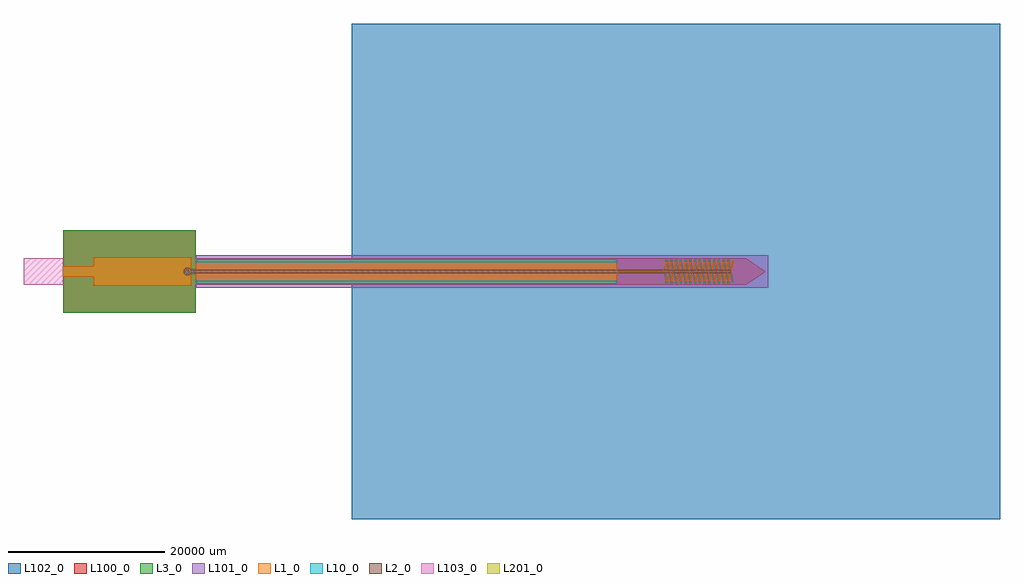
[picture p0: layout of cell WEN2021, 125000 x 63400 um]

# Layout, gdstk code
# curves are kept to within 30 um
import gdstk
lib = gdstk.Library(unit=1e-6, precision=1e-09)
def R(c, l, rs):  # rectangles x0, y0, x1, y1
    for r in rs: c.add(gdstk.rectangle(r[:2], r[2:], *l))
def P(c, l, *ps):  # polygons
    for p in ps: c.add(gdstk.Polygon(p, *l))
L1_0 = (1, 0)
L2_0 = (2, 0)
L3_0 = (3, 0)
L10_0 = (10, 0)
L100_0 = (100, 0)
L101_0 = (101, 0)
L102_0 = (102, 0)
L103_0 = (103, 0)
L201_0 = (201, 0)

wen2021 = lib.new_cell('WEN2021')
P(wen2021, L1_0, [(85216.505,-1572.5),(85075.083,-1513.921),(85031.729,-1449.037),(85020.348,-1333.482),(85075.083,-1231.079),(85156.091,-1182.833),(85726.871,1394.125),(85922.138,1350.875),(85351.432,-1225.749),(85401.28,-1295.963),(85412.662,-1411.518),(85327.619,-1538.794)],
  [(77312.505,-1572.5),(77171.083,-1513.921),(77127.729,-1449.037),(77116.348,-1333.482),(77171.083,-1231.079),(77252.091,-1182.833),(77785.577,1225.75),(77735.729,1295.963),(77724.348,1411.518),(77809.391,1538.794),(77959.523,1568.657),(78086.799,1483.614),(78116.662,1333.482),(78061.926,1231.079),(77980.918,1182.833),(77447.432,-1225.749),(77497.28,-1295.963),(77508.662,-1411.518),(77423.619,-1538.794)],
  [(77920.505,-1572.5),(77779.083,-1513.921),(77735.729,-1449.037),(77724.348,-1333.482),(77779.083,-1231.079),(77860.091,-1182.833),(78393.577,1225.75),(78343.729,1295.963),(78332.348,1411.518),(78417.391,1538.794),(78567.523,1568.657),(78694.799,1483.614),(78724.662,1333.482),(78669.926,1231.079),(78588.918,1182.833),(78055.432,-1225.749),(78105.28,-1295.963),(78116.662,-1411.518),(78031.619,-1538.794)],
  [(78528.505,-1572.5),(78387.083,-1513.921),(78343.729,-1449.037),(78332.348,-1333.482),(78387.083,-1231.079),(78468.091,-1182.833),(79001.577,1225.75),(78951.729,1295.963),(78940.348,1411.518),(79025.391,1538.794),(79175.523,1568.657),(79302.799,1483.614),(79332.662,1333.482),(79277.926,1231.079),(79196.918,1182.833),(78663.432,-1225.749),(78713.28,-1295.963),(78724.662,-1411.518),(78639.619,-1538.794)],
  [(79136.505,-1572.5),(78995.083,-1513.921),(78951.729,-1449.037),(78940.348,-1333.482),(78995.083,-1231.079),(79076.091,-1182.833),(79609.577,1225.75),(79559.729,1295.963),(79548.348,1411.518),(79633.391,1538.794),(79783.523,1568.657),(79910.799,1483.614),(79940.662,1333.482),(79885.926,1231.079),(79804.918,1182.833),(79271.432,-1225.749),(79321.28,-1295.963),(79332.662,-1411.518),(79247.619,-1538.794)],
  [(79744.505,-1572.5),(79603.083,-1513.921),(79559.729,-1449.037),(79548.348,-1333.482),(79603.083,-1231.079),(79684.091,-1182.833),(80217.577,1225.75),(80167.729,1295.963),(80156.348,1411.518),(80241.391,1538.794),(80391.523,1568.657),(80518.799,1483.614),(80548.662,1333.482),(80493.926,1231.079),(80412.918,1182.833),(79879.432,-1225.749),(79929.28,-1295.963),(79940.662,-1411.518),(79855.619,-1538.794)],
  [(80352.505,-1572.5),(80211.083,-1513.921),(80167.729,-1449.037),(80156.348,-1333.482),(80211.083,-1231.079),(80292.091,-1182.833),(80825.577,1225.75),(80775.729,1295.963),(80764.348,1411.518),(80849.391,1538.794),(80999.523,1568.657),(81126.799,1483.614),(81156.662,1333.482),(81101.926,1231.079),(81020.918,1182.833),(80487.432,-1225.749),(80537.28,-1295.963),(80548.662,-1411.518),(80463.619,-1538.794)],
  [(80960.505,-1572.5),(80819.083,-1513.921),(80775.729,-1449.037),(80764.348,-1333.482),(80819.083,-1231.079),(80900.091,-1182.833),(81433.577,1225.75),(81383.729,1295.963),(81372.348,1411.518),(81457.391,1538.794),(81607.523,1568.657),(81734.799,1483.614),(81764.662,1333.482),(81709.926,1231.079),(81628.918,1182.833),(81095.432,-1225.749),(81145.28,-1295.963),(81156.662,-1411.518),(81071.619,-1538.794)],
  [(81568.505,-1572.5),(81427.083,-1513.921),(81383.729,-1449.037),(81372.348,-1333.482),(81427.083,-1231.079),(81508.091,-1182.833),(82041.577,1225.75),(81991.729,1295.963),(81980.348,1411.518),(82065.391,1538.794),(82215.523,1568.657),(82342.799,1483.614),(82372.662,1333.482),(82317.926,1231.079),(82236.918,1182.833),(81703.432,-1225.749),(81753.28,-1295.963),(81764.662,-1411.518),(81679.619,-1538.794)],
  [(82176.505,-1572.5),(82035.083,-1513.921),(81991.729,-1449.037),(81980.348,-1333.482),(82035.083,-1231.079),(82116.091,-1182.833),(82649.577,1225.75),(82599.729,1295.963),(82588.348,1411.518),(82673.391,1538.794),(82823.523,1568.657),(82950.799,1483.614),(82980.662,1333.482),(82925.926,1231.079),(82844.918,1182.833),(82311.432,-1225.749),(82361.28,-1295.963),(82372.662,-1411.518),(82287.619,-1538.794)],
  [(82784.505,-1572.5),(82643.083,-1513.921),(82599.729,-1449.037),(82588.348,-1333.482),(82643.083,-1231.079),(82724.091,-1182.833),(83257.577,1225.75),(83207.729,1295.963),(83196.348,1411.518),(83281.391,1538.794),(83431.523,1568.657),(83558.799,1483.614),(83588.662,1333.482),(83533.926,1231.079),(83452.918,1182.833),(82919.432,-1225.749),(82969.28,-1295.963),(82980.662,-1411.518),(82895.619,-1538.794)],
  [(83392.505,-1572.5),(83251.083,-1513.921),(83207.729,-1449.037),(83196.348,-1333.482),(83251.083,-1231.079),(83332.091,-1182.833),(83865.577,1225.75),(83815.729,1295.963),(83804.348,1411.518),(83889.391,1538.794),(84039.523,1568.657),(84166.799,1483.614),(84196.662,1333.482),(84141.926,1231.079),(84060.918,1182.833),(83527.432,-1225.749),(83577.28,-1295.963),(83588.662,-1411.518),(83503.619,-1538.794)],
  [(84000.505,-1572.5),(83859.083,-1513.921),(83815.729,-1449.037),(83804.348,-1333.482),(83859.083,-1231.079),(83940.091,-1182.833),(84473.577,1225.75),(84423.729,1295.963),(84412.348,1411.518),(84497.391,1538.794),(84647.523,1568.657),(84774.799,1483.614),(84804.662,1333.482),(84749.926,1231.079),(84668.918,1182.833),(84135.432,-1225.749),(84185.28,-1295.963),(84196.662,-1411.518),(84111.619,-1538.794)],
  [(84608.505,-1572.5),(84467.083,-1513.921),(84423.729,-1449.037),(84412.348,-1333.482),(84467.083,-1231.079),(84548.091,-1182.833),(85081.577,1225.75),(85031.729,1295.963),(85020.348,1411.518),(85105.391,1538.794),(85255.523,1568.657),(85382.799,1483.614),(85412.662,1333.482),(85357.926,1231.079),(85276.918,1182.833),(84743.432,-1225.749),(84793.28,-1295.963),(84804.662,-1411.518),(84719.619,-1538.794)],
  [(17000,-1600),(17000,1600),(71000,1600),(71000,100),(76920.21,100),(77176.696,1226.472),(77116.348,1333.482),(77127.729,1449.037),(77235.968,1557.276),(77351.523,1568.657),(77478.799,1483.614),(77512.505,1372.5),(77478.799,1261.386),(77371.802,1182.494),(77097.504,-22.201),(77000,0),(77000,-100),(71000,-100),(71000,-1600)],
  [(3950,-1850),(3950,-650),(0,-650),(0,650),(3950,650),(3950,1850),(16450,1850),(16450,-1850)])
P(wen2021, L2_0, [(15950,-450),(15777.792,-415.746),(15631.802,-318.198),(15534.254,-172.208),(15500,0),(15534.254,172.208),(15631.802,318.198),(15777.792,415.746),(15950,450),(16162.129,396.865),(16324.165,250),(85500,250),(85500,-250),(16324.165,-250),(16162.129,-396.865)])
P(wen2021, L3_0, [(77920.505,-1572.5),(77779.083,-1513.921),(77724.348,-1411.518),(77735.729,-1295.963),(77785.577,-1225.75),(77252.091,1182.833),(77171.083,1231.079),(77116.348,1333.482),(77146.211,1483.614),(77273.487,1568.657),(77423.619,1538.794),(77508.662,1411.518),(77497.28,1295.963),(77447.432,1225.749),(77980.918,-1182.833),(78061.926,-1231.079),(78116.662,-1333.482),(78086.799,-1483.614),(78031.619,-1538.794)],
  [(78528.505,-1572.5),(78387.083,-1513.921),(78332.348,-1411.518),(78343.729,-1295.963),(78393.577,-1225.75),(77860.091,1182.833),(77779.083,1231.079),(77724.348,1333.482),(77754.211,1483.614),(77881.487,1568.657),(78031.619,1538.794),(78116.662,1411.518),(78105.28,1295.963),(78055.432,1225.749),(78588.918,-1182.833),(78669.926,-1231.079),(78724.662,-1333.482),(78694.799,-1483.614),(78639.619,-1538.794)],
  [(79136.505,-1572.5),(78995.083,-1513.921),(78940.348,-1411.518),(78951.729,-1295.963),(79001.577,-1225.75),(78468.091,1182.833),(78387.083,1231.079),(78332.348,1333.482),(78362.211,1483.614),(78489.487,1568.657),(78639.619,1538.794),(78724.662,1411.518),(78713.28,1295.963),(78663.432,1225.749),(79196.918,-1182.833),(79277.926,-1231.079),(79332.662,-1333.482),(79302.799,-1483.614),(79247.619,-1538.794)],
  [(79744.505,-1572.5),(79603.083,-1513.921),(79548.348,-1411.518),(79559.729,-1295.963),(79609.577,-1225.75),(79076.091,1182.833),(78995.083,1231.079),(78940.348,1333.482),(78970.211,1483.614),(79097.487,1568.657),(79247.619,1538.794),(79332.662,1411.518),(79321.28,1295.963),(79271.432,1225.749),(79804.918,-1182.833),(79885.926,-1231.079),(79940.662,-1333.482),(79910.799,-1483.614),(79855.619,-1538.794)],
  [(80352.505,-1572.5),(80211.083,-1513.921),(80156.348,-1411.518),(80167.729,-1295.963),(80217.577,-1225.75),(79684.091,1182.833),(79603.083,1231.079),(79548.348,1333.482),(79578.211,1483.614),(79705.487,1568.657),(79855.619,1538.794),(79940.662,1411.518),(79929.28,1295.963),(79879.432,1225.749),(80412.918,-1182.833),(80493.926,-1231.079),(80548.662,-1333.482),(80518.799,-1483.614),(80463.619,-1538.794)],
  [(80960.505,-1572.5),(80819.083,-1513.921),(80764.348,-1411.518),(80775.729,-1295.963),(80825.577,-1225.75),(80292.091,1182.833),(80211.083,1231.079),(80156.348,1333.482),(80186.211,1483.614),(80313.487,1568.657),(80463.619,1538.794),(80548.662,1411.518),(80537.28,1295.963),(80487.432,1225.749),(81020.918,-1182.833),(81101.926,-1231.079),(81156.662,-1333.482),(81126.799,-1483.614),(81071.619,-1538.794)],
  [(81568.505,-1572.5),(81427.083,-1513.921),(81372.348,-1411.518),(81383.729,-1295.963),(81433.577,-1225.75),(80900.091,1182.833),(80819.083,1231.079),(80764.348,1333.482),(80794.211,1483.614),(80921.487,1568.657),(81071.619,1538.794),(81156.662,1411.518),(81145.28,1295.963),(81095.432,1225.749),(81628.918,-1182.833),(81709.926,-1231.079),(81764.662,-1333.482),(81734.799,-1483.614),(81679.619,-1538.794)],
  [(82176.505,-1572.5),(82035.083,-1513.921),(81980.348,-1411.518),(81991.729,-1295.963),(82041.577,-1225.75),(81508.091,1182.833),(81427.083,1231.079),(81372.348,1333.482),(81402.211,1483.614),(81529.487,1568.657),(81679.619,1538.794),(81764.662,1411.518),(81753.28,1295.963),(81703.432,1225.749),(82236.918,-1182.833),(82317.926,-1231.079),(82372.662,-1333.482),(82342.799,-1483.614),(82287.619,-1538.794)],
  [(82784.505,-1572.5),(82643.083,-1513.921),(82588.348,-1411.518),(82599.729,-1295.963),(82649.577,-1225.75),(82116.091,1182.833),(82035.083,1231.079),(81980.348,1333.482),(82010.211,1483.614),(82137.487,1568.657),(82287.619,1538.794),(82372.662,1411.518),(82361.28,1295.963),(82311.432,1225.749),(82844.918,-1182.833),(82925.926,-1231.079),(82980.662,-1333.482),(82950.799,-1483.614),(82895.619,-1538.794)],
  [(83392.505,-1572.5),(83251.083,-1513.921),(83196.348,-1411.518),(83207.729,-1295.963),(83257.577,-1225.75),(82724.091,1182.833),(82643.083,1231.079),(82588.348,1333.482),(82618.211,1483.614),(82745.487,1568.657),(82895.619,1538.794),(82980.662,1411.518),(82969.28,1295.963),(82919.432,1225.749),(83452.918,-1182.833),(83533.926,-1231.079),(83588.662,-1333.482),(83558.799,-1483.614),(83503.619,-1538.794)],
  [(84000.505,-1572.5),(83859.083,-1513.921),(83804.348,-1411.518),(83815.729,-1295.963),(83865.577,-1225.75),(83332.091,1182.833),(83251.083,1231.079),(83196.348,1333.482),(83226.211,1483.614),(83353.487,1568.657),(83503.619,1538.794),(83588.662,1411.518),(83577.28,1295.963),(83527.432,1225.749),(84060.918,-1182.833),(84141.926,-1231.079),(84196.662,-1333.482),(84166.799,-1483.614),(84111.619,-1538.794)],
  [(84608.505,-1572.5),(84467.083,-1513.921),(84412.348,-1411.518),(84423.729,-1295.963),(84473.577,-1225.75),(83940.091,1182.833),(83859.083,1231.079),(83804.348,1333.482),(83834.211,1483.614),(83961.487,1568.657),(84111.619,1538.794),(84196.662,1411.518),(84185.28,1295.963),(84135.432,1225.749),(84668.918,-1182.833),(84749.926,-1231.079),(84804.662,-1333.482),(84774.799,-1483.614),(84719.619,-1538.794)],
  [(85216.505,-1572.5),(85075.083,-1513.921),(85020.348,-1411.518),(85031.729,-1295.963),(85081.577,-1225.75),(84548.091,1182.833),(84467.083,1231.079),(84412.348,1333.482),(84442.211,1483.614),(84569.487,1568.657),(84719.619,1538.794),(84804.662,1411.518),(84793.28,1295.963),(84743.432,1225.749),(85276.918,-1182.833),(85357.926,-1231.079),(85412.662,-1333.482),(85382.799,-1483.614),(85327.619,-1538.794)],
  [(85726.871,-1394.125),(85156.091,1182.833),(85075.083,1231.079),(85020.348,1333.482),(85050.211,1483.614),(85177.487,1568.657),(85327.619,1538.794),(85412.662,1411.518),(85401.28,1295.963),(85351.432,1225.749),(85922.138,-1350.875)],
  [(0,-5300),(0,500),(15950,500),(15758.658,461.94),(15596.447,353.553),(15488.06,191.342),(15450,0),(15488.06,-191.342),(15596.447,-353.553),(15758.658,-461.94),(15950,-500),(16141.342,-461.94),(16303.553,-353.553),(16411.94,-191.342),(16450,0),(16411.94,191.342),(16303.553,353.553),(16141.342,461.94),(15950,500),(0,500),(0,5300),(17000,5300),(17000,1600),(71000,1600),(71000,100),(77000,100),(77000,0),(77097.504,22.201),(77371.802,-1182.494),(77478.799,-1261.386),(77512.505,-1372.5),(77478.799,-1483.614),(77351.523,-1568.657),(77235.968,-1557.276),(77127.729,-1449.037),(77116.348,-1333.482),(77176.696,-1226.472),(76920.21,-100),(71000,-100),(71000,-1600),(17000,-1600),(17000,-5300)])
R(wen2021, L10_0, [(17000,-1600,71000,-1200), (17000,1200,71000,1600)])
P(wen2021, L10_0, [(77312.505,-1472.5),(77241.794,-1443.211),(77212.505,-1372.5),(77241.794,-1301.789),(77312.505,-1272.5),(77383.215,-1301.789),(77412.505,-1372.5),(77383.215,-1443.211)],
  [(77920.505,-1472.5),(77849.794,-1443.211),(77820.505,-1372.5),(77849.794,-1301.789),(77920.505,-1272.5),(77991.215,-1301.789),(78020.505,-1372.5),(77991.215,-1443.211)],
  [(78528.505,-1472.5),(78457.794,-1443.211),(78428.505,-1372.5),(78457.794,-1301.789),(78528.505,-1272.5),(78599.215,-1301.789),(78628.505,-1372.5),(78599.215,-1443.211)],
  [(79136.505,-1472.5),(79065.794,-1443.211),(79036.505,-1372.5),(79065.794,-1301.789),(79136.505,-1272.5),(79207.215,-1301.789),(79236.505,-1372.5),(79207.215,-1443.211)],
  [(79744.505,-1472.5),(79673.794,-1443.211),(79644.505,-1372.5),(79673.794,-1301.789),(79744.505,-1272.5),(79815.215,-1301.789),(79844.505,-1372.5),(79815.215,-1443.211)],
  [(80352.505,-1472.5),(80281.794,-1443.211),(80252.505,-1372.5),(80281.794,-1301.789),(80352.505,-1272.5),(80423.215,-1301.789),(80452.505,-1372.5),(80423.215,-1443.211)],
  [(80960.505,-1472.5),(80889.794,-1443.211),(80860.505,-1372.5),(80889.794,-1301.789),(80960.505,-1272.5),(81031.215,-1301.789),(81060.505,-1372.5),(81031.215,-1443.211)],
  [(81568.505,-1472.5),(81497.794,-1443.211),(81468.505,-1372.5),(81497.794,-1301.789),(81568.505,-1272.5),(81639.215,-1301.789),(81668.505,-1372.5),(81639.215,-1443.211)],
  [(82176.505,-1472.5),(82105.794,-1443.211),(82076.505,-1372.5),(82105.794,-1301.789),(82176.505,-1272.5),(82247.215,-1301.789),(82276.505,-1372.5),(82247.215,-1443.211)],
  [(82784.505,-1472.5),(82713.794,-1443.211),(82684.505,-1372.5),(82713.794,-1301.789),(82784.505,-1272.5),(82855.215,-1301.789),(82884.505,-1372.5),(82855.215,-1443.211)],
  [(83392.505,-1472.5),(83321.794,-1443.211),(83292.505,-1372.5),(83321.794,-1301.789),(83392.505,-1272.5),(83463.215,-1301.789),(83492.505,-1372.5),(83463.215,-1443.211)],
  [(84000.505,-1472.5),(83929.794,-1443.211),(83900.505,-1372.5),(83929.794,-1301.789),(84000.505,-1272.5),(84071.215,-1301.789),(84100.505,-1372.5),(84071.215,-1443.211)],
  [(84608.505,-1472.5),(84537.794,-1443.211),(84508.505,-1372.5),(84537.794,-1301.789),(84608.505,-1272.5),(84679.215,-1301.789),(84708.505,-1372.5),(84679.215,-1443.211)],
  [(85216.505,-1472.5),(85145.794,-1443.211),(85116.505,-1372.5),(85145.794,-1301.789),(85216.505,-1272.5),(85287.215,-1301.789),(85316.505,-1372.5),(85287.215,-1443.211)],
  [(15950,-250),(15773.223,-176.777),(15700,0),(15773.223,176.777),(15950,250),(16126.777,176.777),(16200,0),(16126.777,-176.777)],
  [(77312.505,1272.5),(77241.794,1301.789),(77212.505,1372.5),(77241.794,1443.211),(77312.505,1472.5),(77383.215,1443.211),(77412.505,1372.5),(77383.215,1301.789)],
  [(77920.505,1272.5),(77849.794,1301.789),(77820.505,1372.5),(77849.794,1443.211),(77920.505,1472.5),(77991.215,1443.211),(78020.505,1372.5),(77991.215,1301.789)],
  [(78528.505,1272.5),(78457.794,1301.789),(78428.505,1372.5),(78457.794,1443.211),(78528.505,1472.5),(78599.215,1443.211),(78628.505,1372.5),(78599.215,1301.789)],
  [(79136.505,1272.5),(79065.794,1301.789),(79036.505,1372.5),(79065.794,1443.211),(79136.505,1472.5),(79207.215,1443.211),(79236.505,1372.5),(79207.215,1301.789)],
  [(79744.505,1272.5),(79673.794,1301.789),(79644.505,1372.5),(79673.794,1443.211),(79744.505,1472.5),(79815.215,1443.211),(79844.505,1372.5),(79815.215,1301.789)],
  [(80352.505,1272.5),(80281.794,1301.789),(80252.505,1372.5),(80281.794,1443.211),(80352.505,1472.5),(80423.215,1443.211),(80452.505,1372.5),(80423.215,1301.789)],
  [(80960.505,1272.5),(80889.794,1301.789),(80860.505,1372.5),(80889.794,1443.211),(80960.505,1472.5),(81031.215,1443.211),(81060.505,1372.5),(81031.215,1301.789)],
  [(81568.505,1272.5),(81497.794,1301.789),(81468.505,1372.5),(81497.794,1443.211),(81568.505,1472.5),(81639.215,1443.211),(81668.505,1372.5),(81639.215,1301.789)],
  [(82176.505,1272.5),(82105.794,1301.789),(82076.505,1372.5),(82105.794,1443.211),(82176.505,1472.5),(82247.215,1443.211),(82276.505,1372.5),(82247.215,1301.789)],
  [(82784.505,1272.5),(82713.794,1301.789),(82684.505,1372.5),(82713.794,1443.211),(82784.505,1472.5),(82855.215,1443.211),(82884.505,1372.5),(82855.215,1301.789)],
  [(83392.505,1272.5),(83321.794,1301.789),(83292.505,1372.5),(83321.794,1443.211),(83392.505,1472.5),(83463.215,1443.211),(83492.505,1372.5),(83463.215,1301.789)],
  [(84000.505,1272.5),(83929.794,1301.789),(83900.505,1372.5),(83929.794,1443.211),(84000.505,1472.5),(84071.215,1443.211),(84100.505,1372.5),(84071.215,1301.789)],
  [(84608.505,1272.5),(84537.794,1301.789),(84508.505,1372.5),(84537.794,1443.211),(84608.505,1472.5),(84679.215,1443.211),(84708.505,1372.5),(84679.215,1301.789)],
  [(85216.505,1272.5),(85145.794,1301.789),(85116.505,1372.5),(85145.794,1443.211),(85216.505,1472.5),(85287.215,1443.211),(85316.505,1372.5),(85287.215,1301.789)],
  [(77312.505,-1472.5),(77241.794,-1443.211),(77212.505,-1372.5),(77241.794,-1301.789),(77312.505,-1272.5),(77383.215,-1301.789),(77412.505,-1372.5),(77383.215,-1443.211)],
  [(77920.505,-1472.5),(77849.794,-1443.211),(77820.505,-1372.5),(77849.794,-1301.789),(77920.505,-1272.5),(77991.215,-1301.789),(78020.505,-1372.5),(77991.215,-1443.211)],
  [(78528.505,-1472.5),(78457.794,-1443.211),(78428.505,-1372.5),(78457.794,-1301.789),(78528.505,-1272.5),(78599.215,-1301.789),(78628.505,-1372.5),(78599.215,-1443.211)],
  [(79136.505,-1472.5),(79065.794,-1443.211),(79036.505,-1372.5),(79065.794,-1301.789),(79136.505,-1272.5),(79207.215,-1301.789),(79236.505,-1372.5),(79207.215,-1443.211)],
  [(79744.505,-1472.5),(79673.794,-1443.211),(79644.505,-1372.5),(79673.794,-1301.789),(79744.505,-1272.5),(79815.215,-1301.789),(79844.505,-1372.5),(79815.215,-1443.211)],
  [(80352.505,-1472.5),(80281.794,-1443.211),(80252.505,-1372.5),(80281.794,-1301.789),(80352.505,-1272.5),(80423.215,-1301.789),(80452.505,-1372.5),(80423.215,-1443.211)],
  [(80960.505,-1472.5),(80889.794,-1443.211),(80860.505,-1372.5),(80889.794,-1301.789),(80960.505,-1272.5),(81031.215,-1301.789),(81060.505,-1372.5),(81031.215,-1443.211)],
  [(81568.505,-1472.5),(81497.794,-1443.211),(81468.505,-1372.5),(81497.794,-1301.789),(81568.505,-1272.5),(81639.215,-1301.789),(81668.505,-1372.5),(81639.215,-1443.211)],
  [(82176.505,-1472.5),(82105.794,-1443.211),(82076.505,-1372.5),(82105.794,-1301.789),(82176.505,-1272.5),(82247.215,-1301.789),(82276.505,-1372.5),(82247.215,-1443.211)],
  [(82784.505,-1472.5),(82713.794,-1443.211),(82684.505,-1372.5),(82713.794,-1301.789),(82784.505,-1272.5),(82855.215,-1301.789),(82884.505,-1372.5),(82855.215,-1443.211)],
  [(83392.505,-1472.5),(83321.794,-1443.211),(83292.505,-1372.5),(83321.794,-1301.789),(83392.505,-1272.5),(83463.215,-1301.789),(83492.505,-1372.5),(83463.215,-1443.211)],
  [(84000.505,-1472.5),(83929.794,-1443.211),(83900.505,-1372.5),(83929.794,-1301.789),(84000.505,-1272.5),(84071.215,-1301.789),(84100.505,-1372.5),(84071.215,-1443.211)],
  [(84608.505,-1472.5),(84537.794,-1443.211),(84508.505,-1372.5),(84537.794,-1301.789),(84608.505,-1272.5),(84679.215,-1301.789),(84708.505,-1372.5),(84679.215,-1443.211)],
  [(85216.505,-1472.5),(85145.794,-1443.211),(85116.505,-1372.5),(85145.794,-1301.789),(85216.505,-1272.5),(85287.215,-1301.789),(85316.505,-1372.5),(85287.215,-1443.211)],
  [(15950,-250),(15773.223,-176.777),(15700,0),(15773.223,176.777),(15950,250),(16126.777,176.777),(16200,0),(16126.777,-176.777)],
  [(77312.505,1272.5),(77241.794,1301.789),(77212.505,1372.5),(77241.794,1443.211),(77312.505,1472.5),(77383.215,1443.211),(77412.505,1372.5),(77383.215,1301.789)],
  [(77920.505,1272.5),(77849.794,1301.789),(77820.505,1372.5),(77849.794,1443.211),(77920.505,1472.5),(77991.215,1443.211),(78020.505,1372.5),(77991.215,1301.789)],
  [(78528.505,1272.5),(78457.794,1301.789),(78428.505,1372.5),(78457.794,1443.211),(78528.505,1472.5),(78599.215,1443.211),(78628.505,1372.5),(78599.215,1301.789)],
  [(79136.505,1272.5),(79065.794,1301.789),(79036.505,1372.5),(79065.794,1443.211),(79136.505,1472.5),(79207.215,1443.211),(79236.505,1372.5),(79207.215,1301.789)],
  [(79744.505,1272.5),(79673.794,1301.789),(79644.505,1372.5),(79673.794,1443.211),(79744.505,1472.5),(79815.215,1443.211),(79844.505,1372.5),(79815.215,1301.789)],
  [(80352.505,1272.5),(80281.794,1301.789),(80252.505,1372.5),(80281.794,1443.211),(80352.505,1472.5),(80423.215,1443.211),(80452.505,1372.5),(80423.215,1301.789)],
  [(80960.505,1272.5),(80889.794,1301.789),(80860.505,1372.5),(80889.794,1443.211),(80960.505,1472.5),(81031.215,1443.211),(81060.505,1372.5),(81031.215,1301.789)],
  [(81568.505,1272.5),(81497.794,1301.789),(81468.505,1372.5),(81497.794,1443.211),(81568.505,1472.5),(81639.215,1443.211),(81668.505,1372.5),(81639.215,1301.789)],
  [(82176.505,1272.5),(82105.794,1301.789),(82076.505,1372.5),(82105.794,1443.211),(82176.505,1472.5),(82247.215,1443.211),(82276.505,1372.5),(82247.215,1301.789)],
  [(82784.505,1272.5),(82713.794,1301.789),(82684.505,1372.5),(82713.794,1443.211),(82784.505,1472.5),(82855.215,1443.211),(82884.505,1372.5),(82855.215,1301.789)],
  [(83392.505,1272.5),(83321.794,1301.789),(83292.505,1372.5),(83321.794,1443.211),(83392.505,1472.5),(83463.215,1443.211),(83492.505,1372.5),(83463.215,1301.789)],
  [(84000.505,1272.5),(83929.794,1301.789),(83900.505,1372.5),(83929.794,1443.211),(84000.505,1472.5),(84071.215,1443.211),(84100.505,1372.5),(84071.215,1301.789)],
  [(84608.505,1272.5),(84537.794,1301.789),(84508.505,1372.5),(84537.794,1443.211),(84608.505,1472.5),(84679.215,1443.211),(84708.505,1372.5),(84679.215,1301.789)],
  [(85216.505,1272.5),(85145.794,1301.789),(85116.505,1372.5),(85145.794,1443.211),(85216.505,1472.5),(85287.215,1443.211),(85316.505,1372.5),(85287.215,1301.789)])
P(wen2021, L100_0, [(0,-5300),(0,5300),(17000,5300),(17000,1700),(87500,1700),(90000,0),(87500,-1700),(17000,-1700),(17000,-5300)])
R(wen2021, L101_0, [(17000,-2050,90350,2050)])
R(wen2021, L102_0, [(37000,-31700,120000,31700)])
R(wen2021, L103_0, [(-5000,-1700,0,1700)])
R(wen2021, L201_0, [(0,-650,100,650)])

lib.write_gds('WEN2021.gds')
